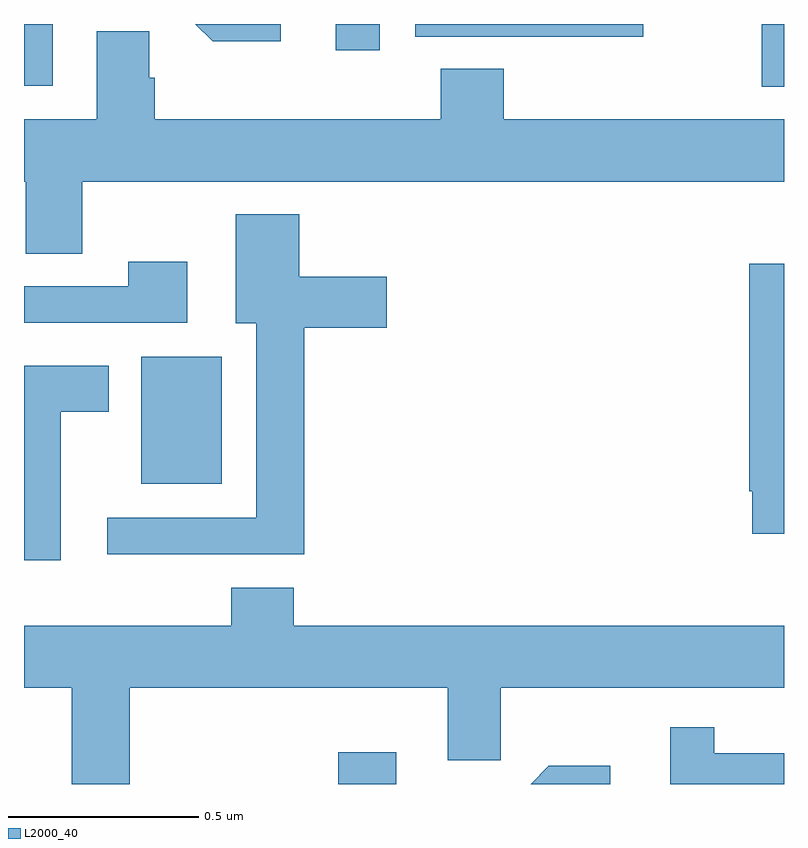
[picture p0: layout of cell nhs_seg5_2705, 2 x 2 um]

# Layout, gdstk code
import gdstk
lib = gdstk.Library(unit=1e-6, precision=1e-09)
def R(c, l, rs):  # rectangles x0, y0, x1, y1
    for r in rs: c.add(gdstk.rectangle(r[:2], r[2:], *l))
def P(c, l, *ps):  # polygons
    for p in ps: c.add(gdstk.Polygon(p, *l))
L2000_40 = (2000, 40)

nhs_seg5_2705 = lib.new_cell('nhs_seg5_2705')
R(nhs_seg5_2705, L2000_40, [(147.827,897.799,147.979,897.883), (147.308,898.589,147.52,898.924), (148.942,899.634,149,899.799), (147,899.637,147.075,899.799), (147.821,899.73,147.936,899.799)])
P(nhs_seg5_2705, L2000_40, [(147.676,899.799),(147.451,899.799),(147.497,899.753),(147.676,899.753)],
  [(148.63,899.799),(148.029,899.799),(148.029,899.766),(148.345,899.766),(148.345,899.765),(148.63,899.765)],
  [(147.153,899.384),(149,899.384),(149,899.548),(148.262,899.548),(148.262,899.681),(148.097,899.681),(148.097,899.548),(147.344,899.548),(147.344,899.657),(147.33,899.657),(147.33,899.78),(147.191,899.78),(147.191,899.548),(147,899.548),(147,899.384),(147.005,899.384),(147.005,899.194),(147.153,899.194)],
  [(147.737,899),(147.955,899),(147.955,899.134),(147.724,899.134),(147.724,899.299),(147.557,899.299),(147.557,899.012),(147.611,899.012),(147.611,898.5),(147.219,898.5),(147.219,898.403),(147.737,898.403)],
  [(147.43,899.173),(147.274,899.173),(147.274,899.109),(147,899.109),(147,899.013),(147.43,899.013)],
  [(149,899.168),(148.909,899.168),(148.909,898.57),(148.917,898.57),(148.917,898.458),(149,898.458)],
  [(147.097,898.778),(147.223,898.778),(147.223,898.9),(147,898.9),(147,898.388),(147.097,898.388)],
  [(147.278,898.052),(148.115,898.052),(148.115,897.862),(148.254,897.862),(148.254,898.052),(149,898.052),(149,898.216),(147.71,898.216),(147.71,898.315),(147.545,898.315),(147.545,898.216),(147,898.216),(147,898.052),(147.125,898.052),(147.125,897.799),(147.278,897.799)],
  [(149,897.88),(148.817,897.88),(148.817,897.949),(148.7,897.949),(148.7,897.799),(149,897.799)],
  [(148.543,897.847),(148.381,897.847),(148.333,897.799),(148.543,897.799)])

lib.write_gds('nhs_seg5_2705.gds')
